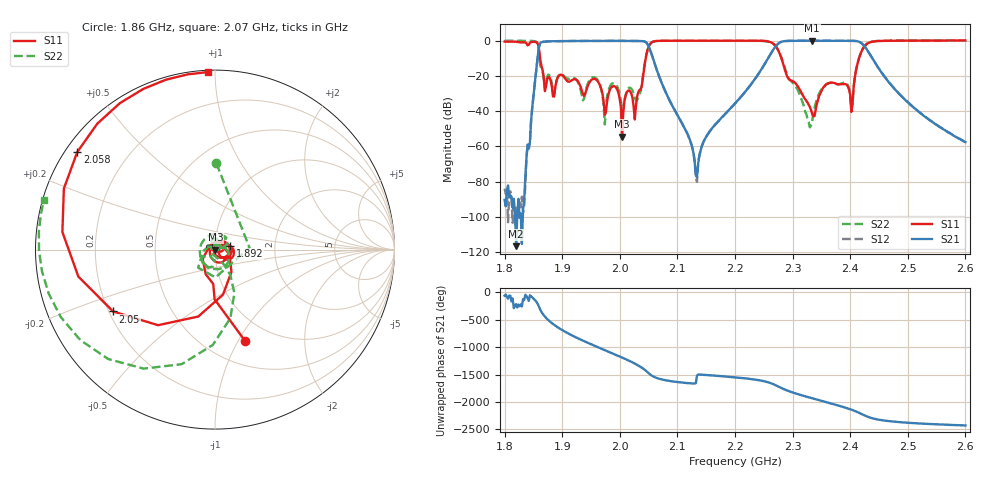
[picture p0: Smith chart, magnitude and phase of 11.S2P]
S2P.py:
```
import re
import os  
import math  
import pylab  
freq = []
s11 = []
s21 = []
s12 = []
s22 = []

def db_proc(snp):
    snp.seek(195) #read from 5th line
    for line in snp:
        #print line
        temp = re.split('\t',line.rstrip())
        freq.append(float(temp[0]))
        s11.append(float(temp[1]))
        s21.append(float(temp[3]))
        s12.append(float(temp[5]))
        s22.append(float(temp[7]))
   
def ri_proc(snp):
    snp.seek(195) #read from 5th line
    for line in snp:
        #print line
        temp = re.split('\t',line.rstrip())
        freq.append(float(temp[0]))
        #a = float(temp[1])
        #b = float(temp[2])
        #c = complex(a,b)
        #s11.append(20*math.log10(abs(c)))
        s21.append(20*math.log10(abs(complex(float(temp[1]),(temp[2])))))
        s21.append(20*math.log10(abs(complex(float(temp[3]),(temp[4])))))
        s12.append(20*math.log10(abs(complex(float(temp[5]),(temp[6])))))
        s22.append(20*math.log10(abs(complex(float(temp[7]),(temp[8])))))

s2p = open('11.S2P','r')
s2p.seek(186) #whether DB or RI
if s2p.readline(2) == 'dB':
    print 'db'
    db_proc(s2p)
elif s2p.readline(2) == 'RI':
    print 'ri'
    ri_proc()
s2p.close()
raw_input("END")
#print freq
#print s11
pylab.plot(freq,s11,'y')
pylab.plot(freq,s21,'c') 
pylab.plot(freq,s12,'m') 
pylab.plot(freq,s22,'g')
pylab.xlabel('Frequency')
pylab.ylabel('Log magtitude')
#pylab.ylim(-80,0)
pylab.axis([2E9, 2.2E9, -1, 0])
#pylab.legend()
pylab.show()
```
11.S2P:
!Agilent Technologies,E5071C,MY46107869,A.09.30
!Date: Fri Nov 28 14:32:04 2014
!Data & Calibration Information:
!Freq	S11:SOLT2(ON)	S21:SOLT2(ON)	S12:SOLT2(ON)	S22:SOLT2(ON)
# Hz S dB R 50
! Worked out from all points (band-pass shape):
!   401 points, 1.8 GHz to 2.6 GHz, reference 50 ohm
!   highest |S21| = -0.05 dB at 2.334 GHz (marker M1); lowest = -116.6 dB at 1.82 GHz (marker M2)
!   |S21| within 3 dB of the highest: 1.86 GHz to 2.05 GHz (189.9 MHz wide, 9.72 % of centre); 2.271 GHz to 2.425 GHz (153.5 MHz wide, 6.54 % of centre)
!   lowest |S11| = -54.4 dB at 2.004 GHz (marker M3), VSWR 1.00, Z = 50.2 + j0.052 ohm
!   |S11| at or under -10 dB: 1.862 GHz to 2.045 GHz (183.4 MHz wide, 9.39 % of centre); 2.281 GHz to 2.415 GHz (134.7 MHz wide, 5.74 % of centre)
!   |S22| runs from -49.2 to 0.1 dB; largest |S21 - S12| = 0.009
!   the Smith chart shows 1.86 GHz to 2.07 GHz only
!   S11 on the Smith chart (normalised r, x): 1.86 GHz: 0.75, -1.07; 1.892 GHz: 1.19, +0.05; 2.05 GHz: 0.22, -0.27; 2.058 GHz: 0.03, +0.32; 2.07 GHz: 0.01, +0.96
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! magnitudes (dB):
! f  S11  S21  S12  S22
! 1.8 GHz  -0.5  -90.4  -84.0  0.0
! 1.82 GHz  -0.6  -116.6  -94.4  0.0
! 1.86 GHz  -5.4  -3.0  -3.1  -6.4
! 1.892 GHz  -21.1  -0.3  -0.3  -21.0
! 2.004 GHz  -54.4  -0.1  -0.1  -39.8
! 2.05 GHz  -3.6  -3.1  -3.1  -3.5
! 2.058 GHz  -0.5  -10.5  -10.5  -0.6
! 2.07 GHz  -0.1  -21.8  -21.7  -0.1
! 2.2 GHz  0.0  -35.6  -35.7  0.0
! 2.334 GHz  -41.7  0.0  -0.1  -45.5
! 2.6 GHz  0.1  -57.6  -57.3  0.1
